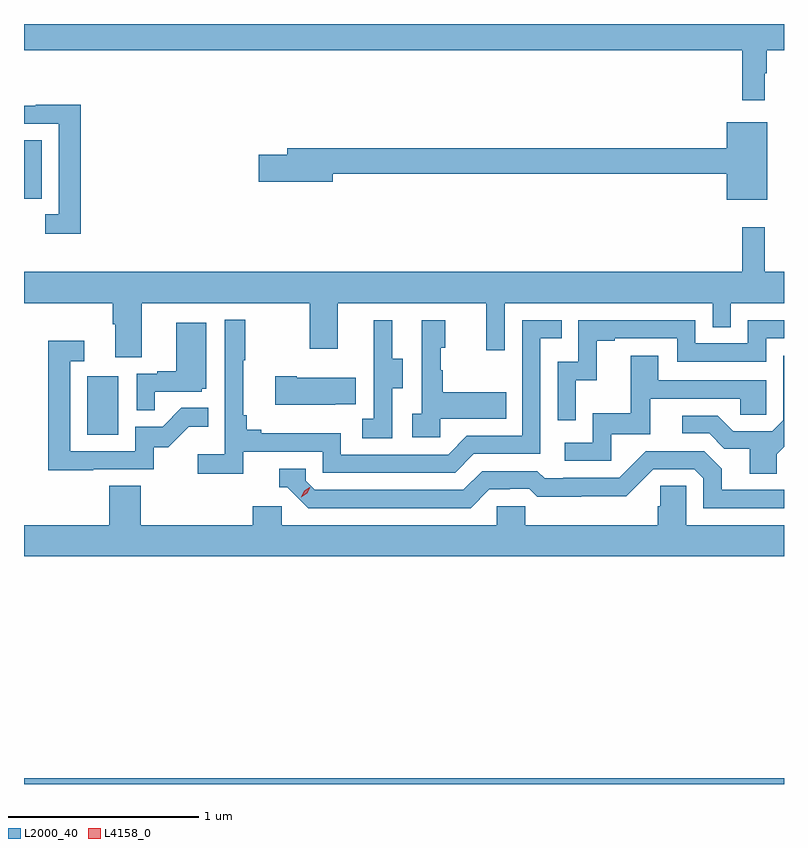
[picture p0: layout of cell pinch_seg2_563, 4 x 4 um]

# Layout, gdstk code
import gdstk
lib = gdstk.Library(unit=1e-6, precision=1e-09)
def R(c, l, rs):  # rectangles x0, y0, x1, y1
    for r in rs: c.add(gdstk.rectangle(r[:2], r[2:], *l))
def P(c, l, *ps):  # polygons
    for p in ps: c.add(gdstk.Polygon(p, *l))
L2000_40 = (2000, 40)
L4158_0 = (4158, 0)

pinch_seg2_563 = lib.new_cell('pinch_seg2_563')
R(pinch_seg2_563, L2000_40, [(1079.85,603.813,1083.85,603.844), (1080.182,605.652,1080.346,605.959), (1079.85,606.894,1079.944,607.201)])
P(pinch_seg2_563, L2000_40, [(1083.748,607.553),(1083.76,607.553),(1083.76,607.676),(1083.85,607.676),(1083.85,607.813),(1079.85,607.813),(1079.85,607.676),(1083.631,607.676),(1083.631,607.413),(1083.748,607.413)],
  [(1080.149,607.388),(1079.911,607.388),(1079.911,607.383),(1079.85,607.383),(1079.85,607.287),(1080.033,607.287),(1080.033,606.813),(1079.961,606.813),(1079.961,606.708),(1080.149,606.708)],
  [(1083.763,607.297),(1083.548,607.297),(1083.548,607.16),(1081.235,607.16),(1081.235,607.124),(1081.086,607.124),(1081.086,606.982),(1081.474,606.982),(1081.474,607.024),(1083.548,607.024),(1083.548,606.887),(1083.763,606.887)],
  [(1080.469,606.344),(1081.354,606.344),(1081.354,606.105),(1081.501,606.105),(1081.501,606.344),(1082.282,606.344),(1082.282,606.096),(1082.379,606.096),(1082.379,606.344),(1083.474,606.344),(1083.474,606.217),(1083.57,606.217),(1083.57,606.344),(1083.85,606.344),(1083.85,606.508),(1083.749,606.508),(1083.749,606.742),(1083.631,606.742),(1083.631,606.508),(1079.85,606.508),(1079.85,606.344),(1080.317,606.344),(1080.317,606.232),(1080.329,606.232),(1080.329,606.058),(1080.469,606.058)],
  [(1081.004,605.562),(1081.422,605.562),(1081.422,605.451),(1082.119,605.451),(1082.218,605.55),(1082.568,605.55),(1082.568,606.159),(1082.681,606.159),(1082.681,606.255),(1082.472,606.255),(1082.472,605.646),(1082.181,605.646),(1082.082,605.547),(1081.518,605.547),(1081.518,605.659),(1081.099,605.659),(1081.099,605.678),(1081.022,605.678),(1081.022,605.755),(1081.003,605.755),(1081.003,606.043),(1081.015,606.043),(1081.015,606.256),(1080.906,606.256),(1080.906,605.548),(1080.765,605.548),(1080.765,605.446),(1081.004,605.446)],
  [(1082.754,605.939),(1082.864,605.939),(1082.864,606.147),(1082.959,606.147),(1082.959,606.159),(1083.288,606.159),(1083.288,606.036),(1083.756,606.036),(1083.756,606.159),(1083.85,606.159),(1083.85,606.255),(1083.66,606.255),(1083.66,606.132),(1083.384,606.132),(1083.384,606.255),(1082.766,606.255),(1082.766,606.036),(1082.658,606.036),(1082.658,605.727),(1082.754,605.727)],
  [(1081.788,605.896),(1081.843,605.896),(1081.843,606.051),(1081.789,606.051),(1081.789,606.253),(1081.691,606.253),(1081.691,606.039),(1081.692,606.039),(1081.692,605.735),(1081.629,605.735),(1081.629,605.632),(1081.788,605.632)],
  [(1082.04,605.735),(1082.387,605.735),(1082.387,605.875),(1082.053,605.875),(1082.053,605.99),(1082.043,605.99),(1082.043,606.108),(1082.068,606.108),(1082.068,606.253),(1081.944,606.253),(1081.944,605.762),(1081.893,605.762),(1081.893,605.637),(1082.04,605.637)],
  [(1080.539,605.877),(1080.786,605.877),(1080.786,605.892),(1080.808,605.892),(1080.808,606.241),(1080.65,606.241),(1080.65,605.986),(1080.551,605.986),(1080.551,605.973),(1080.444,605.973),(1080.444,605.779),(1080.539,605.779)],
  [(1080.215,605.469),(1080.534,605.469),(1080.534,605.586),(1080.61,605.586),(1080.717,605.693),(1080.821,605.693),(1080.821,605.792),(1080.677,605.792),(1080.579,605.694),(1080.435,605.694),(1080.435,605.565),(1080.093,605.565),(1080.093,606.039),(1080.166,606.039),(1080.166,606.145),(1079.977,606.145),(1079.977,605.464),(1080.215,605.464)],
  [(1082.94,605.655),(1083.145,605.655),(1083.145,605.841),(1083.619,605.841),(1083.619,605.757),(1083.756,605.757),(1083.756,605.937),(1083.187,605.937),(1083.187,606.067),(1083.043,606.067),(1083.043,605.764),(1082.844,605.764),(1082.844,605.61),(1082.697,605.61),(1082.697,605.514),(1082.94,605.514)],
  [(1083.811,605.548),(1083.85,605.587),(1083.85,606.067),(1083.846,606.067),(1083.846,605.727),(1083.789,605.67),(1083.583,605.67),(1083.502,605.751),(1083.315,605.751),(1083.315,605.658),(1083.456,605.658),(1083.536,605.578),(1083.671,605.578),(1083.671,605.446),(1083.811,605.446)],
  [(1081.487,605.813),(1081.595,605.813),(1081.595,605.95),(1081.285,605.95),(1081.285,605.958),(1081.173,605.958),(1081.173,605.81),(1081.487,605.81)],
  [(1082.299,605.364),(1082.406,605.364),(1082.406,605.367),(1082.509,605.367),(1082.551,605.325),(1082.784,605.325),(1082.784,605.327),(1083.02,605.327),(1083.162,605.469),(1083.378,605.469),(1083.426,605.421),(1083.426,605.265),(1083.85,605.265),(1083.85,605.361),(1083.523,605.361),(1083.523,605.471),(1083.429,605.565),(1083.123,605.565),(1082.982,605.424),(1082.689,605.424),(1082.689,605.421),(1082.59,605.421),(1082.551,605.46),(1082.262,605.46),(1082.163,605.361),(1081.38,605.361),(1081.332,605.409),(1081.332,605.472),(1081.193,605.472),(1081.193,605.376),(1081.236,605.376),(1081.347,605.265),(1082.2,605.265)],
  [(1080.299,605.384),(1080.299,605.176),(1079.85,605.176),(1079.85,605.012),(1083.85,605.012),(1083.85,605.176),(1083.336,605.176),(1083.336,605.384),(1083.199,605.384),(1083.199,605.274),(1083.185,605.274),(1083.185,605.176),(1082.487,605.176),(1082.487,605.274),(1082.337,605.274),(1082.337,605.176),(1081.206,605.176),(1081.206,605.274),(1081.055,605.274),(1081.055,605.176),(1080.464,605.176),(1080.464,605.384)])
P(pinch_seg2_563, L4158_0, [(1081.309,605.323),(1081.309,605.323),(1081.325,605.356),(1081.355,605.375),(1081.356,605.375),(1081.356,605.375),(1081.34,605.342),(1081.309,605.323)])

lib.write_gds('pinch_seg2_563.gds')
